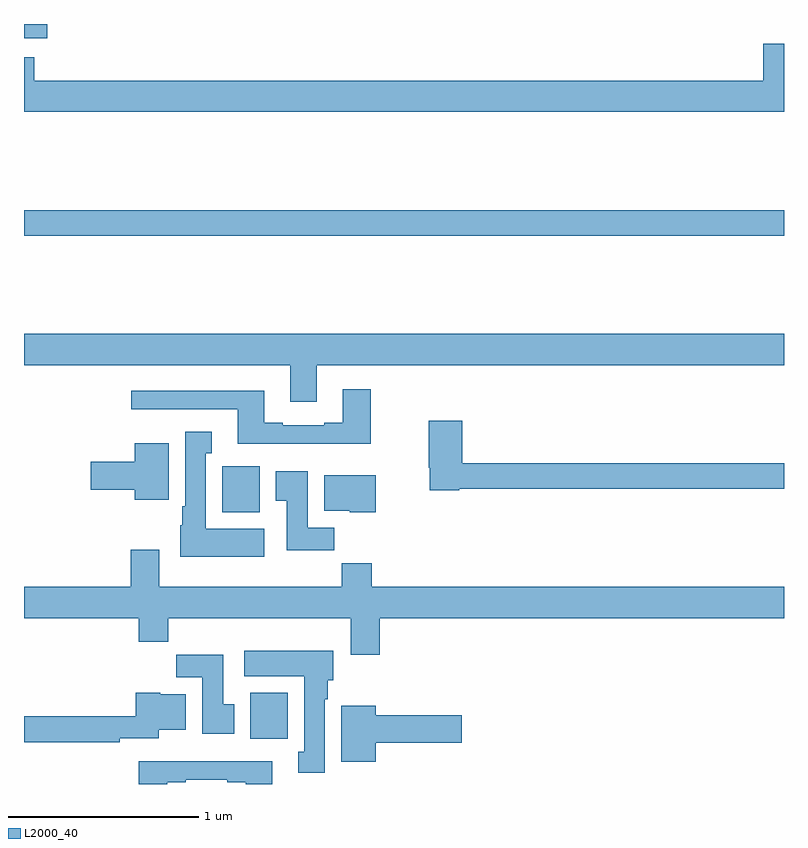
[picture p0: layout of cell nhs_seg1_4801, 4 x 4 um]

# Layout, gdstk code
import gdstk
lib = gdstk.Library(unit=1e-6, precision=1e-09)
def R(c, l, rs):  # rectangles x0, y0, x1, y1
    for r in rs: c.add(gdstk.rectangle(r[:2], r[2:], *l))
def P(c, l, *ps):  # polygons
    for p in ps: c.add(gdstk.Polygon(p, *l))
L2000_40 = (2000, 40)

nhs_seg1_4801 = lib.new_cell('nhs_seg1_4801')
R(nhs_seg1_4801, L2000_40, [(372.191,544.436,372.388,544.678), (372.044,545.63,372.241,545.872), (371,547.084,375,547.22), (371,548.124,371.123,548.199)])
P(nhs_seg1_4801, L2000_40, [(375,548.095),(374.891,548.095),(374.891,547.9),(371.054,547.9),(371.054,548.024),(371,548.024),(371,547.736),(375,547.736)],
  [(372.541,546.404),(375,546.404),(375,546.568),(371,546.568),(371,546.404),(372.401,546.404),(372.401,546.21),(372.541,546.21)],
  [(372.825,546.277),(372.677,546.277),(372.677,546.1),(372.581,546.1),(372.581,546.087),(372.361,546.087),(372.361,546.1),(372.265,546.1),(372.265,546.268),(371.565,546.268),(371.565,546.171),(372.125,546.171),(372.125,545.99),(372.825,545.99)],
  [(373.29,545.752),(375,545.752),(375,545.888),(373.307,545.888),(373.307,546.112),(373.129,546.112),(373.129,545.863),(373.136,545.863),(373.136,545.744),(373.29,545.744)],
  [(372.265,545.542),(371.956,545.542),(371.956,545.939),(371.989,545.939),(371.989,546.052),(371.849,546.052),(371.849,545.662),(371.834,545.662),(371.834,545.562),(371.822,545.562),(371.822,545.396),(372.265,545.396)],
  [(371.761,545.992),(371.582,545.992),(371.582,545.894),(371.352,545.894),(371.352,545.747),(371.582,545.747),(371.582,545.696),(371.761,545.696)],
  [(372.632,545.548),(372.493,545.548),(372.493,545.845),(372.326,545.845),(372.326,545.689),(372.383,545.689),(372.383,545.43),(372.632,545.43)],
  [(372.85,545.824),(372.581,545.824),(372.581,545.636),(372.714,545.636),(372.714,545.63),(372.85,545.63)],
  [(372.872,545.072),(375,545.072),(375,545.236),(372.83,545.236),(372.83,545.36),(372.673,545.36),(372.673,545.236),(371.713,545.236),(371.713,545.431),(371.561,545.431),(371.561,545.236),(371,545.236),(371,545.072),(371.603,545.072),(371.603,544.948),(371.759,544.948),(371.759,545.072),(372.719,545.072),(372.719,544.878),(372.872,544.878)],
  [(372.583,544.646),(372.598,544.646),(372.598,544.746),(372.628,544.746),(372.628,544.9),(372.159,544.9),(372.159,544.766),(372.476,544.766),(372.476,544.37),(372.443,544.37),(372.443,544.257),(372.583,544.257)],
  [(372.106,544.62),(372.049,544.62),(372.049,544.879),(371.8,544.879),(371.8,544.76),(371.939,544.76),(371.939,544.464),(372.106,544.464)],
  [(371.504,544.44),(371.71,544.44),(371.71,544.484),(371.851,544.484),(371.851,544.672),(371.718,544.672),(371.718,544.678),(371.588,544.678),(371.588,544.556),(371,544.556),(371,544.42),(371.504,544.42)],
  [(372.85,544.415),(373.303,544.415),(373.303,544.562),(372.85,544.562),(372.85,544.612),(372.671,544.612),(372.671,544.316),(372.85,544.316)],
  [(371.755,544.209),(371.851,544.209),(371.851,544.221),(372.071,544.221),(372.071,544.209),(372.167,544.209),(372.167,544.199),(372.307,544.199),(372.307,544.318),(371.603,544.318),(371.603,544.199),(371.755,544.199)])

lib.write_gds('nhs_seg1_4801.gds')
